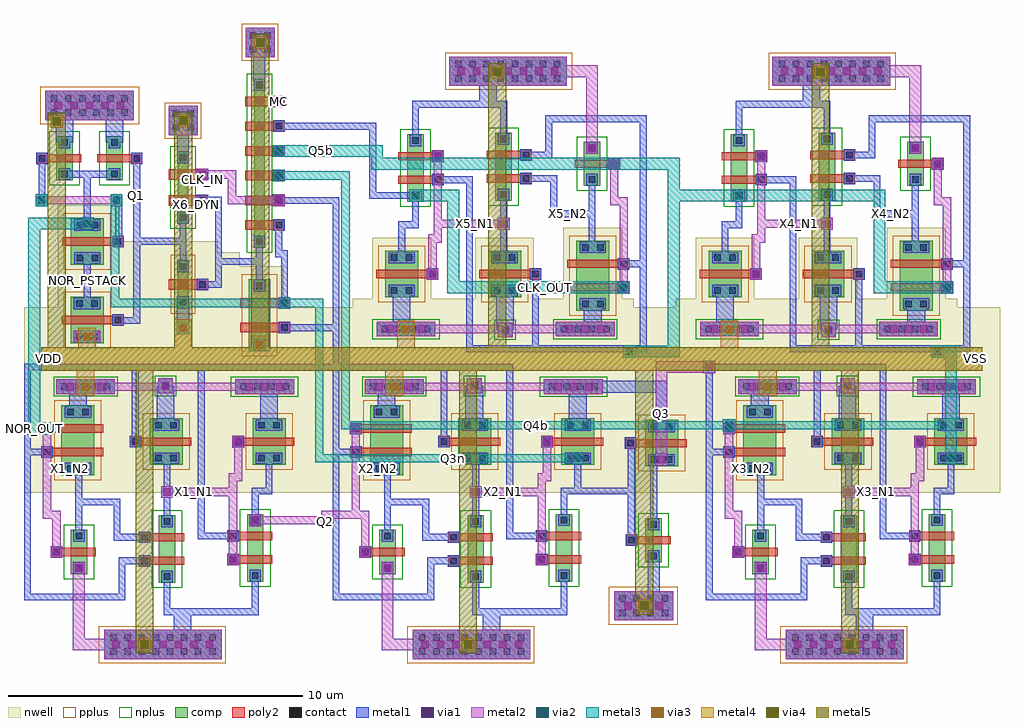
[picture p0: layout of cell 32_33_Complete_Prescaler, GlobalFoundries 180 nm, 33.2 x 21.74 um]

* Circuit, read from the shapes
.subckt 32_33_Complete_Prescaler CLK_IN CLK_OUT MC NOR_OUT NOR_PSTACK Q1 Q2 Q3 Q3n Q4b Q5b VDD VSS X1_N1 X1_N2 X2_N1 X2_N2 X3_N1 X3_N2 X4_N1 X4_N2 X5_N1 X5_N2 X6_DYN
XM1 VSS Q3n NOR_OUT VSS nfet_03v3 w=0.56u l=0.28u
XM2 X1_N2 NOR_OUT VSS VSS nfet_03v3 w=0.56u l=0.28u
XM3 VSS Q1 NOR_OUT VSS nfet_03v3 w=0.56u l=0.28u
XM4 n1 CLK_IN VSS VSS nfet_03v3 w=0.56u l=0.28u
XM5 X1_N1 X1_N2 n1 VSS nfet_03v3 w=0.56u l=0.28u
XM6 n2 X6_DYN Q1 VSS nfet_03v3 w=0.36u l=0.36u
XM7 VSS CLK_IN n2 VSS nfet_03v3 w=0.36u l=0.36u
XM8 n3 X1_N1 VSS VSS nfet_03v3 w=0.56u l=0.28u
XM9 Q2 CLK_IN n3 VSS nfet_03v3 w=0.56u l=0.28u
XM10 n4 Q3n X6_DYN VSS nfet_03v3 w=0.36u l=0.32u
XM11 n5 CLK_IN n4 VSS nfet_03v3 w=0.36u l=0.32u
XM12 n6 Q4b n5 VSS nfet_03v3 w=0.36u l=0.32u
XM13 n7 Q5b n6 VSS nfet_03v3 w=0.36u l=0.32u
XM14 n8 CLK_OUT n7 VSS nfet_03v3 w=0.36u l=0.32u
XM15 VSS MC n8 VSS nfet_03v3 w=0.36u l=0.32u
XM16 X2_N2 Q2 VSS VSS nfet_03v3 w=0.56u l=0.28u
XM17 n9 Q5b CLK_OUT VSS nfet_03v3 w=0.56u l=0.28u
XM18 VSS X5_N1 n9 VSS nfet_03v3 w=0.56u l=0.28u
XM19 n10 CLK_IN VSS VSS nfet_03v3 w=0.56u l=0.28u
XM20 X2_N1 X2_N2 n10 VSS nfet_03v3 w=0.56u l=0.28u
XM21 n11 X5_N2 X5_N1 VSS nfet_03v3 w=0.56u l=0.28u
XM22 VSS Q5b n11 VSS nfet_03v3 w=0.56u l=0.28u
XM23 n12 X2_N1 VSS VSS nfet_03v3 w=0.56u l=0.28u
XM24 Q3n CLK_IN n12 VSS nfet_03v3 w=0.56u l=0.28u
XM25 VSS CLK_OUT X5_N2 VSS nfet_03v3 w=0.56u l=0.28u
XM26 Q3 Q3n VSS VSS nfet_03v3 w=0.56u l=0.28u
XM27 n13 Q4b Q5b VSS nfet_03v3 w=0.56u l=0.28u
XM28 VSS X4_N1 n13 VSS nfet_03v3 w=0.56u l=0.28u
XM29 X3_N2 Q4b VSS VSS nfet_03v3 w=0.56u l=0.28u
XM30 n14 X4_N2 X4_N1 VSS nfet_03v3 w=0.56u l=0.28u
XM31 VSS Q4b n14 VSS nfet_03v3 w=0.56u l=0.28u
XM32 n15 Q3 VSS VSS nfet_03v3 w=0.56u l=0.28u
XM33 X3_N1 X3_N2 n15 VSS nfet_03v3 w=0.56u l=0.28u
XM34 VSS Q5b X4_N2 VSS nfet_03v3 w=0.56u l=0.28u
XM35 n16 X3_N1 VSS VSS nfet_03v3 w=0.56u l=0.28u
XM36 Q4b Q3 n16 VSS nfet_03v3 w=0.56u l=0.28u
XM37 n17 CLK_IN X1_N2 VDD pfet_03v3 w=1.12u l=0.28u
XM38 VDD NOR_OUT n17 VDD pfet_03v3 w=1.12u l=0.28u
XM39 NOR_PSTACK Q1 VDD VDD pfet_03v3 w=1.12u l=0.28u
XM40 NOR_OUT Q3n NOR_PSTACK VDD pfet_03v3 w=1.12u l=0.28u
XM41 VDD CLK_IN X1_N1 VDD pfet_03v3 w=1.12u l=0.28u
XM42 Q1 X6_DYN VDD VDD pfet_03v3 w=0.36u l=0.36u
XM43 n18 CLK_IN VDD VDD pfet_03v3 w=0.72u l=0.32u
XM44 X6_DYN Q3n n18 VDD pfet_03v3 w=0.72u l=0.32u
XM45 VDD X1_N1 Q2 VDD pfet_03v3 w=1.12u l=0.28u
XM46 n19 CLK_IN X2_N2 VDD pfet_03v3 w=1.12u l=0.28u
XM47 VDD Q2 n19 VDD pfet_03v3 w=1.12u l=0.28u
XM48 CLK_OUT X5_N1 VDD VDD pfet_03v3 w=1.12u l=0.28u
XM49 VDD CLK_IN X2_N1 VDD pfet_03v3 w=1.12u l=0.28u
XM50 X5_N1 Q5b VDD VDD pfet_03v3 w=1.12u l=0.28u
XM51 VDD X2_N1 Q3n VDD pfet_03v3 w=1.12u l=0.28u
XM52 n20 CLK_OUT VDD VDD pfet_03v3 w=1.12u l=0.28u
XM53 X5_N2 Q5b n20 VDD pfet_03v3 w=1.12u l=0.28u
XM54 VDD Q3n Q3 VDD pfet_03v3 w=1.12u l=0.28u
XM55 Q5b X4_N1 VDD VDD pfet_03v3 w=1.12u l=0.28u
XM56 n21 Q3 X3_N2 VDD pfet_03v3 w=1.12u l=0.28u
XM57 VDD Q4b n21 VDD pfet_03v3 w=1.12u l=0.28u
XM58 X4_N1 Q4b VDD VDD pfet_03v3 w=1.12u l=0.28u
XM59 VDD Q3 X3_N1 VDD pfet_03v3 w=1.12u l=0.28u
XM60 n22 Q5b VDD VDD pfet_03v3 w=1.12u l=0.28u
XM61 X4_N2 Q4b n22 VDD pfet_03v3 w=1.12u l=0.28u
XM62 VDD X3_N1 Q4b VDD pfet_03v3 w=1.12u l=0.28u
.ends

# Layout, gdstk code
from math import pi, radians
import gdstk
lib = gdstk.Library(unit=1e-6, precision=1e-09)
def R(c, l, rs):  # rectangles x0, y0, x1, y1
    for r in rs: c.add(gdstk.rectangle(r[:2], r[2:], *l))
def A(c, l, x, y, w, h, nx, ny, dx, dy):  # array of equal rectangles
    R(c, l, [(x+i*dx, y+j*dy, x+i*dx+w, y+j*dy+h) for i in range(nx) for j in range(ny)])
def P(c, l, *ps):  # polygons
    for p in ps: c.add(gdstk.Polygon(p, *l))
nwell = (21, 0)
comp = (22, 0)
poly2 = (30, 0)
pplus = (31, 0)
nplus = (32, 0)
contact = (33, 0)
metal1 = (34, 0)
via1 = (35, 0)
metal2 = (36, 0)
via2 = (38, 0)
via3 = (40, 0)
via4 = (41, 0)
metal3 = (42, 0)
metal4 = (46, 0)
metal5 = (81, 0)

via_dev_11 = lib.new_cell('via_dev$11')
R(via_dev_11, metal1, [(0,0,0.4,0.4)])
R(via_dev_11, via1, [(0.07,0.07,0.33,0.33)])
R(via_dev_11, metal2, [(0,0,0.4,0.4)])
R(via_dev_11, via2, [(0.07,0.07,0.33,0.33)])
R(via_dev_11, metal3, [(0,0,0.4,0.4)])

via_dev_14 = lib.new_cell('via_dev$14')
R(via_dev_14, comp, [(0,0,1,1)])
R(via_dev_14, contact, [(0.15,0.15,0.37,0.37), (0.63,0.15,0.85,0.37), (0.15,0.63,0.37,0.85), (0.63,0.63,0.85,0.85)])
R(via_dev_14, metal1, [(0,0,1,1)])
R(via_dev_14, via1, [(0.37,0.37,0.63,0.63)])
R(via_dev_14, metal2, [(0,0,1,1)])

via_dev_12 = lib.new_cell('via_dev$12')
R(via_dev_12, comp, [(0,0,2,1)])
A(via_dev_12, contact, 0.17, 0.15, 0.22, 0.22, 4, 2, 0.48, 0.48)
R(via_dev_12, metal1, [(0,0,2,1)])
A(via_dev_12, via1, 0.34, 0.37, 0.26, 0.26, 3, 1, 0.53, 0)
R(via_dev_12, metal2, [(0,0,2,1)])

pfet_4 = lib.new_cell('pfet$4')
R(pfet_4, nwell, [(-0.9,-0.44,2.36,1.56)])
R(pfet_4, comp, [(-0.46,0,0,1.12), (0,0,1.46,1.12), (1.46,0,1.92,1.12)])
R(pfet_4, poly2, [(0.19,-0.3,0.47,1.42), (0.99,-0.3,1.27,1.42), (0.14,1.42,0.52,1.8), (0.94,1.42,1.32,1.8)])
R(pfet_4, pplus, [(-0.63,-0.24,2.09,1.36)])
R(pfet_4, contact, [(-0.34,0.195,-0.12,0.415), (1.58,0.195,1.8,0.415), (-0.34,0.705,-0.12,0.925), (1.58,0.705,1.8,0.925), (0.22,1.5,0.44,1.72), (1.02,1.5,1.24,1.72)])
R(pfet_4, metal1, [(-0.42,0.115,-0.04,1.005), (1.5,0.115,1.88,1.005), (0.135,1.415,0.525,1.805), (0.935,1.415,1.325,1.805), (0.14,1.419,0.52,1.801), (0.94,1.419,1.32,1.801)])

nfet_3 = lib.new_cell('nfet$3')
R(nfet_3, comp, [(-0.42,0,0,0.56), (0,0,1.46,0.56), (1.46,0,1.88,0.56)])
R(nfet_3, poly2, [(0.19,-0.3,0.47,0.86), (0.99,-0.3,1.27,0.86), (0.15,0.86,0.51,1.22), (0.95,0.86,1.31,1.22)])
R(nfet_3, nplus, [(-0.59,-0.24,2.05,0.8)])
R(nfet_3, contact, [(-0.32,0.17,-0.1,0.39), (1.56,0.17,1.78,0.39), (0.22,0.93,0.44,1.15), (1.02,0.93,1.24,1.15)])
R(nfet_3, metal1, [(-0.405,0.085,-0.015,0.475), (1.475,0.085,1.865,0.475), (-0.4,0.089,-0.02,0.471), (1.48,0.089,1.86,0.471), (0.135,0.845,0.525,1.235), (0.935,0.845,1.325,1.235), (0.14,0.849,0.52,1.231), (0.94,0.849,1.32,1.231)])

nfet_2 = lib.new_cell('nfet$2')
R(nfet_2, comp, [(-0.42,0,0,0.56), (0,0,0.66,0.56), (0.66,0,1.08,0.56)])
R(nfet_2, poly2, [(0.19,-0.3,0.47,0.86), (0.15,0.86,0.51,1.22)])
R(nfet_2, nplus, [(-0.59,-0.24,1.25,0.8)])
R(nfet_2, contact, [(-0.32,0.17,-0.1,0.39), (0.76,0.17,0.98,0.39), (0.22,0.93,0.44,1.15)])
R(nfet_2, metal1, [(-0.405,0.085,-0.015,0.475), (0.675,0.085,1.065,0.475), (-0.4,0.089,-0.02,0.471), (0.68,0.089,1.06,0.471), (0.135,0.845,0.525,1.235), (0.14,0.849,0.52,1.231)])

via_dev_4 = lib.new_cell('via_dev$4')
R(via_dev_4, comp, [(0,0,2,0.5)])
A(via_dev_4, contact, 0.17, 0.14, 0.22, 0.22, 4, 1, 0.48, 0)
R(via_dev_4, metal1, [(0,0,2,0.5)])
A(via_dev_4, via1, 0.34, 0.12, 0.26, 0.26, 3, 1, 0.53, 0)
R(via_dev_4, metal2, [(0,0,2,0.5)])

via_dev_6 = lib.new_cell('via_dev$6')
R(via_dev_6, comp, [(0,0,0.5,0.5)])
R(via_dev_6, contact, [(0.14,0.14,0.36,0.36)])
R(via_dev_6, metal1, [(0,0,0.5,0.5)])
R(via_dev_6, via1, [(0.12,0.12,0.38,0.38)])
R(via_dev_6, metal2, [(0,0,0.5,0.5)])

via_dev_8 = lib.new_cell('via_dev$8')
R(via_dev_8, comp, [(0,0,4,1)])
A(via_dev_8, contact, 0.21, 0.15, 0.22, 0.22, 8, 2, 0.48, 0.48)
R(via_dev_8, metal1, [(0,0,4,1)])
A(via_dev_8, via1, 0.28, 0.37, 0.26, 0.26, 7, 1, 0.53, 0)
R(via_dev_8, metal2, [(0,0,4,1)])

pfet_5 = lib.new_cell('pfet$5')
R(pfet_5, nwell, [(-0.9,-0.44,1.56,1.56)])
R(pfet_5, comp, [(-0.46,0,0,1.12), (0,0,0.66,1.12), (0.66,0,1.12,1.12)])
R(pfet_5, poly2, [(0.19,-0.3,0.47,1.42), (0.14,1.42,0.52,1.8)])
R(pfet_5, pplus, [(-0.63,-0.24,1.29,1.36)])
R(pfet_5, contact, [(-0.34,0.195,-0.12,0.415), (0.78,0.195,1,0.415), (-0.34,0.705,-0.12,0.925), (0.78,0.705,1,0.925), (0.22,1.5,0.44,1.72)])
R(pfet_5, metal1, [(-0.42,0.115,-0.04,1.005), (0.7,0.115,1.08,1.005), (0.135,1.415,0.525,1.805), (0.14,1.419,0.52,1.801)])

via_dev = lib.new_cell('via_dev')
R(via_dev, metal1, [(0,0,0.4,0.4)])
R(via_dev, via1, [(0.07,0.07,0.33,0.33)])
R(via_dev, metal2, [(0,0,0.4,0.4)])

flip_flip_w_inv2 = lib.new_cell('Flip_Flip_W_Inv2')
R(flip_flip_w_inv2, nwell, [(-2.71,2.91,6.86,4.8), (6.86,2.91,9.04,4.8)])
R(flip_flip_w_inv2, pplus, [(-0.61,-5.45,3.71,-4.19), (6.25,-4.15,8.59,-2.86)])
R(flip_flip_w_inv2, nplus, [(3.89,3.61,6.19,4.29), (-2.14,3.62,0.04,4.29), (1.31,3.63,2.04,4.32)])
R(flip_flip_w_inv2, via1, [(-1.41,-2.34,-1.15,-2.08), (3.83,-2.06,4.09,-1.8), (-2.17,-1.8,-1.91,-1.54), (4.01,1.95,4.27,2.21), (-2.49,2.4,-2.23,2.66)])
R(flip_flip_w_inv2, metal2, [(-1.48,-2.41,-1.08,-2.01), (3.76,-2.13,4.16,-1.73), (-2.24,-1.87,-1.84,-1.47), (3.94,1.88,4.34,2.28), (-2.56,2.33,-2.16,2.73)])
flip_flip_w_inv2.add(gdstk.FlexPath([(-2.36,1.73),(-3.03,1.73),(-3.03,4.62),(-3.03,4.62)], 0.23, ends="flush", simple_path=True, layer=34, datatype=0))  # metal1
flip_flip_w_inv2.add(gdstk.FlexPath([(0.96,-1.97),(0.19,-1.97),(0.19,-3.2),(-3.03,-3.2),(-3.03,1.73)], 0.23, ends="flush", simple_path=True, layer=34, datatype=0))  # metal1
flip_flip_w_inv2.add(gdstk.FlexPath([(0.64,2.08),(0.64,4.62),(-3.145,4.62)], 0.23, ends="flush", simple_path=True, layer=34, datatype=0))  # metal1
flip_flip_w_inv2.add(gdstk.FlexPath([(7.01,-1.27),(7.01,2.03)], 0.23, ends="flush", simple_path=True, layer=34, datatype=0))  # metal1
flip_flip_w_inv2.add(gdstk.FlexPath([(7.77,-0.73),(7.77,1.47)], 0.23, ends="flush", simple_path=True, layer=34, datatype=0))  # metal1
flip_flip_w_inv2.add(gdstk.FlexPath([(7.77,-1.81),(7.77,-3.5)], 0.4, ends="flush", simple_path=True, layer=34, datatype=0))  # metal1
flip_flip_w_inv2.add(gdstk.FlexPath([(5.19,0.4),(7.01,0.4)], 0.23, ends="flush", simple_path=True, layer=34, datatype=0))  # metal1
flip_flip_w_inv2.add(gdstk.FlexPath([(8.04,2.59),(8.04,3.95),(5.39,3.95)], 0.4, ends="flush", simple_path=True, layer=34, datatype=0))  # metal1
flip_flip_w_inv2.add(gdstk.FlexPath([(0.64,4.62),(2.88,4.62),(2.88,-1.13),(3.96,-1.13)], 0.23, ends="flush", simple_path=True, layer=34, datatype=0))  # metal1
flip_flip_w_inv2.add(gdstk.FlexPath([(4.72,-0.59),(4.72,0.4),(5.19,0.4),(5.19,1.52)], 0.23, ends="flush", simple_path=True, layer=34, datatype=0))  # metal1
flip_flip_w_inv2.add(gdstk.FlexPath([(1.72,-0.63),(1.72,1.52)], 0.23, ends="flush", simple_path=True, layer=34, datatype=0))  # metal1
flip_flip_w_inv2.add(gdstk.FlexPath([(-1.28,-1.13),(-1.28,1.17)], 0.23, ends="flush", simple_path=True, layer=34, datatype=0))  # metal1
flip_flip_w_inv2.add(gdstk.FlexPath([(-1.28,0.03),(0.02,0.03),(0.02,-1.17),(0.96,-1.17)], 0.23, ends="flush", simple_path=True, layer=34, datatype=0))  # metal1
flip_flip_w_inv2.add(gdstk.FlexPath([(4.72,-2.47),(4.72,-3.7),(1.72,-3.7),(1.72,-2.51)], 0.23, ends="flush", simple_path=True, layer=34, datatype=0))  # metal1
flip_flip_w_inv2.add(gdstk.FlexPath([(-1.31,3.09),(-1.31,3.96)], 0.6, ends="flush", simple_path=True, layer=34, datatype=0))  # metal1
flip_flip_w_inv2.add(gdstk.FlexPath([(1.67,3.98),(1.67,2.58)], 0.6, ends="flush", simple_path=True, layer=34, datatype=0))  # metal1
flip_flip_w_inv2.add(gdstk.FlexPath([(5.19,2.64),(5.19,4.07)], 0.6, ends="flush", simple_path=True, layer=34, datatype=0))  # metal1
flip_flip_w_inv2.add(gdstk.FlexPath([(2.25,-3.7),(2.25,-4.82)], 0.6, ends="flush", simple_path=True, layer=34, datatype=0))  # metal1
flip_flip_w_inv2.add(gdstk.FlexPath([(-2.36,2.53),(-2.36,-0.4),(-2.04,-0.4),(-2.04,-1.67)], 0.28, ends="flush", simple_path=True, layer=36, datatype=0))  # metal2
flip_flip_w_inv2.add(gdstk.FlexPath([(-1.28,-2.21),(-1.28,-4.82),(0.52,-4.82)], 0.4, ends="flush", simple_path=True, layer=36, datatype=0))  # metal2
flip_flip_w_inv2.add(gdstk.FlexPath([(3.96,-1.93),(3.96,0.87),(4.14,0.87),(4.14,2.08)], 0.28, ends="flush", simple_path=True, layer=36, datatype=0))  # metal2
flip_flip_w_inv2.add(gdstk.FlexPath([(1.72,0.37),(3.96,0.37)], 0.28, ends="flush", simple_path=True, layer=36, datatype=0))  # metal2
flip_flip_w_inv2.add(gdstk.FlexPath([(-1.05,3.95),(5.09,3.95)], 0.28, ends="flush", simple_path=True, layer=36, datatype=0))  # metal2
flip_flip_w_inv2.add(gdstk.Reference(via_dev_12, (6.43,-4)))
flip_flip_w_inv2.add(gdstk.Reference(pfet_4, (-0.75,1.4), rotation=pi/2))
flip_flip_w_inv2.add(gdstk.Reference(nfet_3, (2,-2.3), rotation=pi/2))
flip_flip_w_inv2.add(gdstk.Reference(nfet_3, (5,-2.26), rotation=pi/2))
flip_flip_w_inv2.add(gdstk.Reference(nfet_2, (-1,-2), rotation=pi/2))
flip_flip_w_inv2.add(gdstk.Reference(nfet_2, (8.05,-1.6), rotation=pi/2))
flip_flip_w_inv2.add(gdstk.Reference(via_dev_4, (-2.05,3.7)))
flip_flip_w_inv2.add(gdstk.Reference(via_dev_4, (4.04,3.7)))
flip_flip_w_inv2.add(gdstk.Reference(via_dev_6, (1.42,3.73)))
flip_flip_w_inv2.add(gdstk.Reference(via_dev_8, (-0.42,-5.32)))
flip_flip_w_inv2.add(gdstk.Reference(pfet_5, (2.25,1.75), rotation=pi/2))
flip_flip_w_inv2.add(gdstk.Reference(pfet_5, (5.75,1.75), rotation=pi/2))
flip_flip_w_inv2.add(gdstk.Reference(pfet_5, (8.6,1.7), rotation=pi/2))
flip_flip_w_inv2.add(gdstk.Reference(via_dev, (1.92,0.17), rotation=pi/2))

pfet = lib.new_cell('pfet')
R(pfet, nwell, [(-0.9,-0.44,2.44,1.16)])
R(pfet, comp, [(-0.46,0,0,0.72), (0,0,1.54,0.72), (1.54,0,2,0.72)])
R(pfet, poly2, [(0.19,-0.3,0.51,1.02), (1.03,-0.3,1.35,1.02), (0.16,1.02,0.54,1.4), (1,1.02,1.38,1.4)])
R(pfet, pplus, [(-0.63,-0.24,2.17,0.96)])
R(pfet, contact, [(-0.34,0.25,-0.12,0.47), (1.66,0.25,1.88,0.47), (0.24,1.1,0.46,1.32), (1.08,1.1,1.3,1.32)])
R(pfet, metal1, [(-0.425,0.165,-0.035,0.555), (1.575,0.165,1.965,0.555), (-0.42,0.169,-0.04,0.551), (1.58,0.169,1.96,0.551), (0.155,1.015,0.545,1.405), (0.995,1.015,1.385,1.405), (0.16,1.019,0.54,1.401), (1,1.019,1.38,1.401)])

nfet_5 = lib.new_cell('nfet$5')
R(nfet_5, comp, [(-0.42,-0.01,0,0.37), (4.9,-0.01,5.32,0.37), (0,0,4.9,0.36)])
A(nfet_5, poly2, 0.19, -0.3, 0.32, 0.96, 6, 1, 0.84, 0)
A(nfet_5, poly2, 0.17, 0.66, 0.36, 0.36, 6, 1, 0.84, 0)
R(nfet_5, nplus, [(-0.59,-0.25,5.49,0.61)])
A(nfet_5, contact, 0.24, 0.73, 0.22, 0.22, 6, 1, 0.84, 0)
R(nfet_5, contact, [(-0.32,0.07,-0.1,0.29), (5,0.07,5.22,0.29)])
A(nfet_5, metal1, 0.155, 0.645, 0.39, 0.39, 6, 1, 0.84, 0)
A(nfet_5, metal1, 0.16, 0.649, 0.38, 0.382, 6, 1, 0.84, 0)
R(nfet_5, metal1, [(-0.405,-0.015,-0.015,0.375), (4.915,-0.015,5.305,0.375), (-0.4,-0.011,-0.02,0.371), (4.92,-0.011,5.3,0.371)])

ff1_first_stage = lib.new_cell('FF1_First_Stage')
R(ff1_first_stage, via1, [(-0.97,-0.27,-0.71,-0.01)])
R(ff1_first_stage, metal2, [(-1.04,-0.34,-0.64,0.06)])
ff1_first_stage.add(gdstk.FlexPath([(-1.025,4.19),(-2.79,4.19),(-2.79,-0.13),(-0.84,-0.13)], 0.23, ends="flush", simple_path=True, layer=34, datatype=0))  # metal1
ff1_first_stage.add(gdstk.FlexPath([(-0.84,0.71),(-0.84,1.68),(-1.035,1.68),(-1.035,3.35),(-1.035,3.35)], 0.23, ends="flush", simple_path=True, layer=34, datatype=0))  # metal1
ff1_first_stage.add(gdstk.FlexPath([(-0.18,1.94),(1.21,1.94),(1.21,2.72),(1.79,2.72)], 0.23, ends="flush", simple_path=True, layer=34, datatype=0))  # metal1
ff1_first_stage.add(gdstk.FlexPath([(-0.18,1.27),(-0.18,2.77)], 0.23, ends="flush", simple_path=True, layer=34, datatype=0))  # metal1
ff1_first_stage.add(gdstk.FlexPath([(1.21,1.94),(1.21,-0.14),(1.87,-0.14)], 0.23, ends="flush", simple_path=True, layer=34, datatype=0))  # metal1
ff1_first_stage.add(gdstk.Reference(pfet, (0.175,3), rotation=pi/2))
ff1_first_stage.add(gdstk.Reference(nfet_5, (0,-3.85), rotation=pi/2))

nfet = lib.new_cell('nfet')
R(nfet, comp, [(-0.42,-0.01,0,0.37), (1.62,-0.01,2.04,0.37), (0,0,1.62,0.36)])
R(nfet, poly2, [(0.19,-0.3,0.55,0.66), (1.07,-0.3,1.43,0.66), (0.19,0.66,0.55,1.02), (1.07,0.66,1.43,1.02)])
R(nfet, nplus, [(-0.59,-0.25,2.21,0.61)])
R(nfet, contact, [(-0.32,0.07,-0.1,0.29), (1.72,0.07,1.94,0.29), (0.26,0.73,0.48,0.95), (1.14,0.73,1.36,0.95)])
R(nfet, metal1, [(-0.405,-0.015,-0.015,0.375), (1.635,-0.015,2.025,0.375), (-0.4,-0.011,-0.02,0.371), (1.64,-0.011,2.02,0.371), (0.175,0.645,0.565,1.035), (1.055,0.645,1.445,1.035), (0.18,0.649,0.56,1.031), (1.06,0.649,1.44,1.031)])

pfet_1 = lib.new_cell('pfet$1')

pfet_2 = lib.new_cell('pfet$2')
R(pfet_2, nwell, [(-0.9,-0.45,1.64,0.81)])
R(pfet_2, comp, [(-0.46,-0.01,0,0.37), (0.74,-0.01,1.2,0.37), (0,0,0.74,0.36)])
R(pfet_2, poly2, [(0.19,-0.3,0.55,0.66), (0.18,0.66,0.56,1.04)])
R(pfet_2, pplus, [(-0.63,-0.24,1.37,0.6)])
R(pfet_2, contact, [(-0.34,0.07,-0.12,0.29), (0.86,0.07,1.08,0.29), (0.26,0.74,0.48,0.96)])
R(pfet_2, metal1, [(-0.425,-0.015,-0.035,0.375), (0.775,-0.015,1.165,0.375), (-0.42,-0.011,-0.04,0.371), (0.78,-0.011,1.16,0.371), (0.175,0.655,0.565,1.045), (0.18,0.659,0.56,1.041)])

ff1_second_stage = lib.new_cell('FF1_Second_Stage')
ff1_second_stage.add(gdstk.FlexPath([(2.42,0.44),(2.42,2.31)], 0.23, ends="flush", simple_path=True, layer=34, datatype=0))  # metal1
ff1_second_stage.add(gdstk.Reference(nfet, (2.6,-1.39), rotation=pi/2))
ff1_second_stage.add(gdstk.Reference(pfet_1, (2.05,1.72)))
ff1_second_stage.add(gdstk.Reference(pfet_2, (2.6,2.35), rotation=pi/2))

c_32_33_prescaler = lib.new_cell('32_33_Prescaler')
R(c_32_33_prescaler, via1, [(1.63,-1.15,1.89,-0.89), (-0.31,4.64,-0.05,4.9)])
R(c_32_33_prescaler, metal2, [(1.56,-1.22,1.96,-0.82), (-0.38,4.575,0.01,4.965)])
c_32_33_prescaler.add(gdstk.FlexPath([(-0.84,-0.14),(0.75,-0.14),(0.75,-1.02),(1.76,-1.02)], 0.28, ends="flush", simple_path=True, layer=36, datatype=0))  # metal2
c_32_33_prescaler.add(gdstk.Reference(ff1_first_stage, (0,0)))
c_32_33_prescaler.add(gdstk.Reference(ff1_second_stage, (0,0)))

flip_flip_wo_inv = lib.new_cell('Flip_Flip_WO_Inv')
R(flip_flip_wo_inv, nwell, [(-2.71,2.91,6.86,4.8)])
R(flip_flip_wo_inv, pplus, [(-0.61,-5.45,3.71,-4.19)])
R(flip_flip_wo_inv, nplus, [(3.89,3.61,6.19,4.29), (-2.14,3.62,0.04,4.29), (1.31,3.63,2.04,4.32)])
R(flip_flip_wo_inv, via1, [(-1.41,-2.34,-1.15,-2.08), (3.83,-2.06,4.09,-1.8), (-2.17,-1.8,-1.91,-1.54), (4.01,1.95,4.27,2.21), (-2.49,2.4,-2.23,2.66)])
R(flip_flip_wo_inv, metal2, [(-1.48,-2.41,-1.08,-2.01), (3.76,-2.13,4.16,-1.73), (-2.24,-1.87,-1.84,-1.47), (3.94,1.88,4.34,2.28), (-2.56,2.33,-2.16,2.73)])
flip_flip_wo_inv.add(gdstk.FlexPath([(-2.36,1.73),(-3.03,1.73),(-3.03,4.62),(-3.03,4.62)], 0.23, ends="flush", simple_path=True, layer=34, datatype=0))  # metal1
flip_flip_wo_inv.add(gdstk.FlexPath([(0.96,-1.97),(0.19,-1.97),(0.19,-3.2),(-3.03,-3.2),(-3.03,1.73)], 0.23, ends="flush", simple_path=True, layer=34, datatype=0))  # metal1
flip_flip_wo_inv.add(gdstk.FlexPath([(0.64,2.08),(0.64,4.62),(-3.145,4.62)], 0.23, ends="flush", simple_path=True, layer=34, datatype=0))  # metal1
flip_flip_wo_inv.add(gdstk.FlexPath([(0.64,4.62),(2.88,4.62),(2.88,-1.13),(3.96,-1.13)], 0.23, ends="flush", simple_path=True, layer=34, datatype=0))  # metal1
flip_flip_wo_inv.add(gdstk.FlexPath([(4.72,-0.59),(4.72,0.4),(5.19,0.4),(5.19,1.52)], 0.23, ends="flush", simple_path=True, layer=34, datatype=0))  # metal1
flip_flip_wo_inv.add(gdstk.FlexPath([(1.72,-0.63),(1.72,1.52)], 0.23, ends="flush", simple_path=True, layer=34, datatype=0))  # metal1
flip_flip_wo_inv.add(gdstk.FlexPath([(-1.28,-1.13),(-1.28,1.17)], 0.23, ends="flush", simple_path=True, layer=34, datatype=0))  # metal1
flip_flip_wo_inv.add(gdstk.FlexPath([(-1.28,0.03),(0.02,0.03),(0.02,-1.17),(0.96,-1.17)], 0.23, ends="flush", simple_path=True, layer=34, datatype=0))  # metal1
flip_flip_wo_inv.add(gdstk.FlexPath([(4.72,-2.47),(4.72,-3.7),(1.72,-3.7),(1.72,-2.51)], 0.23, ends="flush", simple_path=True, layer=34, datatype=0))  # metal1
flip_flip_wo_inv.add(gdstk.FlexPath([(-1.31,3.09),(-1.31,3.96)], 0.6, ends="flush", simple_path=True, layer=34, datatype=0))  # metal1
flip_flip_wo_inv.add(gdstk.FlexPath([(1.67,3.98),(1.67,2.58)], 0.6, ends="flush", simple_path=True, layer=34, datatype=0))  # metal1
flip_flip_wo_inv.add(gdstk.FlexPath([(5.19,2.64),(5.19,4.07)], 0.6, ends="flush", simple_path=True, layer=34, datatype=0))  # metal1
flip_flip_wo_inv.add(gdstk.FlexPath([(2.25,-3.7),(2.25,-4.82)], 0.6, ends="flush", simple_path=True, layer=34, datatype=0))  # metal1
flip_flip_wo_inv.add(gdstk.FlexPath([(-2.36,2.53),(-2.36,-0.4),(-2.04,-0.4),(-2.04,-1.67)], 0.28, ends="flush", simple_path=True, layer=36, datatype=0))  # metal2
flip_flip_wo_inv.add(gdstk.FlexPath([(-1.28,-2.21),(-1.28,-4.82),(0.52,-4.82)], 0.4, ends="flush", simple_path=True, layer=36, datatype=0))  # metal2
flip_flip_wo_inv.add(gdstk.FlexPath([(3.96,-1.93),(3.96,0.87),(4.14,0.87),(4.14,2.08)], 0.28, ends="flush", simple_path=True, layer=36, datatype=0))  # metal2
flip_flip_wo_inv.add(gdstk.FlexPath([(1.72,0.37),(3.96,0.37)], 0.28, ends="flush", simple_path=True, layer=36, datatype=0))  # metal2
flip_flip_wo_inv.add(gdstk.FlexPath([(-1.05,3.95),(5.09,3.95)], 0.28, ends="flush", simple_path=True, layer=36, datatype=0))  # metal2
flip_flip_wo_inv.add(gdstk.Reference(pfet_4, (-0.75,1.4), rotation=pi/2))
flip_flip_wo_inv.add(gdstk.Reference(nfet_3, (2,-2.3), rotation=pi/2))
flip_flip_wo_inv.add(gdstk.Reference(nfet_3, (5,-2.26), rotation=pi/2))
flip_flip_wo_inv.add(gdstk.Reference(nfet_2, (-1,-2), rotation=pi/2))
flip_flip_wo_inv.add(gdstk.Reference(via_dev_4, (-2.05,3.7)))
flip_flip_wo_inv.add(gdstk.Reference(via_dev_4, (4.04,3.7)))
flip_flip_wo_inv.add(gdstk.Reference(via_dev_6, (1.42,3.73)))
flip_flip_wo_inv.add(gdstk.Reference(via_dev_8, (-0.42,-5.32)))
flip_flip_wo_inv.add(gdstk.Reference(pfet_5, (2.25,1.75), rotation=pi/2))
flip_flip_wo_inv.add(gdstk.Reference(pfet_5, (5.75,1.75), rotation=pi/2))
flip_flip_wo_inv.add(gdstk.Reference(via_dev, (1.92,0.17), rotation=pi/2))

nfet_4 = lib.new_cell('nfet$4')
R(nfet_4, comp, [(-0.42,0,0,0.56), (0,0,0.66,0.56), (0.66,0,1.08,0.56)])
R(nfet_4, poly2, [(0.15,-0.66,0.51,-0.3), (0.19,-0.3,0.47,0.86)])
R(nfet_4, nplus, [(-0.59,-0.24,1.25,0.8)])
R(nfet_4, contact, [(0.22,-0.59,0.44,-0.37), (-0.32,0.17,-0.1,0.39), (0.76,0.17,0.98,0.39)])
R(nfet_4, metal1, [(0.135,-0.675,0.525,-0.285), (0.14,-0.671,0.52,-0.289), (-0.405,0.085,-0.015,0.475), (0.675,0.085,1.065,0.475), (-0.4,0.089,-0.02,0.471), (0.68,0.089,1.06,0.471)])

via_dev_13 = lib.new_cell('via_dev$13')
R(via_dev_13, comp, [(0,0,3,1)])
A(via_dev_13, contact, 0.19, 0.15, 0.22, 0.22, 6, 2, 0.48, 0.48)
R(via_dev_13, metal1, [(0,0,3,1)])
A(via_dev_13, via1, 0.31, 0.37, 0.26, 0.26, 5, 1, 0.53, 0)
R(via_dev_13, metal2, [(0,0,3,1)])

c_2_input_nor = lib.new_cell('2_Input_NOR')
R(c_2_input_nor, nwell, [(-2.05,1.99,-0.06,3.19)])
R(c_2_input_nor, pplus, [(-2.82,-4.01,0.54,-2.73)])
R(c_2_input_nor, via1, [(-1.18,4.37,-0.92,4.63)])
R(c_2_input_nor, metal2, [(-1.495,4.3,-0.605,4.68)])
c_2_input_nor.add(gdstk.FlexPath([(-1.98,-1.03),(-0.28,-1.03)], 0.23, ends="flush", simple_path=True, layer=34, datatype=0))  # metal1
c_2_input_nor.add(gdstk.FlexPath([(-1.06,-1.13),(-1.06,0.7)], 0.23, ends="flush", simple_path=True, layer=34, datatype=0))  # metal1
c_2_input_nor.add(gdstk.FlexPath([(-2.74,-1.57),(-2.74,3.95),(-2.1,3.95)], 0.23, ends="flush", simple_path=True, layer=34, datatype=0))  # metal1
c_2_input_nor.add(gdstk.FlexPath([(-2.13,1.26),(-2.13,-0.13)], 0.23, ends="flush", simple_path=True, layer=34, datatype=0))  # metal1
c_2_input_nor.add(gdstk.FlexPath([(0.48,-1.57),(0.48,-0.14)], 0.23, ends="flush", simple_path=True, layer=34, datatype=0))  # metal1
c_2_input_nor.add(gdstk.FlexPath([(-1.98,-2.11),(-1.98,-3.5)], 0.6, ends="flush", simple_path=True, layer=34, datatype=0))  # metal1
c_2_input_nor.add(gdstk.FlexPath([(-0.28,-2.11),(-0.28,-3.43)], 0.6, ends="flush", simple_path=True, layer=34, datatype=0))  # metal1
c_2_input_nor.add(gdstk.FlexPath([(-1.06,1.82),(-1.06,3.39)], 0.23, ends="flush", simple_path=True, layer=34, datatype=0))  # metal1
c_2_input_nor.add(gdstk.FlexPath([(0.5,-0.14),(-2.05,-0.14)], 0.28, ends="flush", simple_path=True, layer=36, datatype=0))  # metal2
c_2_input_nor.add(gdstk.Reference(nfet_2, (-1.7,-1.9), rotation=pi/2))
c_2_input_nor.add(gdstk.Reference(nfet_4, (0,-1.9), rotation=pi/2))
c_2_input_nor.add(gdstk.Reference(pfet_5, (-0.49,3.6), rotation=pi/2))
c_2_input_nor.add(gdstk.Reference(pfet_5, (-0.5,0.93), rotation=pi/2))
r = gdstk.Reference(via_dev_11, (-2.25,-0.34)); r.repetition = gdstk.Repetition(2, 1, v1=(2.55,0), v2=(0,0)); c_2_input_nor.add(r)
c_2_input_nor.add(gdstk.Reference(via_dev_13, (-2.63,-3.87)))

signal_and_well_repairs = lib.new_cell('Signal_and_Well_Repairs')
R(signal_and_well_repairs, nwell, [(13.905,4.2,47.1,10.5), (16.9,10.5,20.5,12.75), (20.5,10.5,22.6,11.9)])
R(signal_and_well_repairs, metal1, [(35.38,5.11,35.8,5.53), (37,8.26,37.42,8.68), (34.29,8.79,34.71,9.21), (44.76,8.79,45.18,9.21), (34.71,9.205,34.855,9.21), (15.85,13.14,16.27,13.56), (27.01,14.09,27.43,14.51)])
R(signal_and_well_repairs, via1, [(35.46,5.19,35.72,5.45), (37.08,8.34,37.34,8.6), (34.37,8.87,34.63,9.13), (44.84,8.87,45.1,9.13), (15.93,13.22,16.19,13.48), (27.09,14.17,27.35,14.43)])
R(signal_and_well_repairs, metal2, [(35.38,5.11,35.8,5.53), (14.48,6.17,14.9,6.59), (37.67,6.28,38.09,6.7), (37,8.26,37.42,8.68), (34.29,8.79,34.71,9.21), (44.76,8.79,45.18,9.21), (34.09,10.97,34.51,11.39), (45.09,10.97,45.51,11.39), (15.85,13.14,16.27,13.56), (27.01,14.09,27.43,14.51), (38.01,14.09,38.43,14.51)])
R(signal_and_well_repairs, via2, [(14.56,6.25,14.82,6.51), (37.75,6.36,38.01,6.62), (34.37,8.87,34.63,9.13), (44.84,8.87,45.1,9.13), (34.17,11.05,34.43,11.31), (45.17,11.05,45.43,11.31), (15.93,13.22,16.19,13.48), (27.09,14.17,27.35,14.43), (38.09,14.17,38.35,14.43)])
R(signal_and_well_repairs, metal3, [(14.05,6.17,14.9,6.59), (14.48,6.17,14.9,6.59), (37.67,6.28,38.09,6.7), (34.29,8.79,34.71,9.21), (44.76,8.79,45.18,9.21), (44.76,8.79,45.63,9.21), (34.09,10.97,34.51,11.39), (45.09,10.97,45.51,11.39), (15.85,13.14,16.27,13.56), (27.01,14.09,27.43,14.51), (38.01,14.09,38.43,14.51)])
signal_and_well_repairs.add(gdstk.FlexPath([(35.59,5.32),(35.59,8.47),(37.21,8.47)], 0.4, ends="flush", simple_path=True, layer=36, datatype=0))  # metal2
signal_and_well_repairs.add(gdstk.FlexPath([(45.43,5.365),(45.43,9),(44.97,9)], 0.4, ends="flush", simple_path=True, layer=42, datatype=0))  # metal3
signal_and_well_repairs.add(gdstk.FlexPath([(16.06,13.35),(14.25,13.35),(14.25,6.38),(14.69,6.38)], 0.4, ends="flush", simple_path=True, layer=42, datatype=0))  # metal3
signal_and_well_repairs.add(gdstk.FlexPath([(22.57,15.82),(25.91,15.82),(25.91,15.38),(36,15.38),(36,14.3),(38.22,14.3)], 0.4, ends="flush", simple_path=True, layer=42, datatype=0))  # metal3
signal_and_well_repairs.add(gdstk.FlexPath([(36,15.38),(36,9),(34.5,9)], 0.4, ends="flush", simple_path=True, layer=42, datatype=0))  # metal3
signal_and_well_repairs.add(gdstk.FlexPath([(38.22,14.3),(43,14.3),(43,11.18),(45.3,11.18)], 0.4, ends="flush", simple_path=True, layer=42, datatype=0))  # metal3
signal_and_well_repairs.add(gdstk.FlexPath([(27.22,14.3),(28.5,14.3),(28.5,11.18),(34.3,11.18)], 0.4, ends="flush", simple_path=True, layer=42, datatype=0))  # metal3

power_grid_repairs = lib.new_cell('Power_Grid_Repairs')
R(power_grid_repairs, metal1, [(19.1,9.59,19.52,10.875), (19.1,9.59,19.52,10.01)])
R(power_grid_repairs, via1, [(19.18,9.67,19.44,9.93)])
R(power_grid_repairs, metal2, [(17.79,-1.18,18.21,-0.76), (28.79,-1.18,29.21,-0.76), (41.79,-1.18,42.21,-0.76), (34.79,0.14,35.21,0.56), (15.79,7.59,16.21,8.01), (26.29,7.59,26.71,8.01), (38.99,7.59,39.41,8.01), (21.705,9.02,22.125,9.44), (15.84,9.3,16.26,9.72), (26.69,9.54,27.11,9.96), (37.69,9.54,38.11,9.96), (19.1,9.59,19.52,10.01), (19.11,16.64,19.53,17.06), (29.79,18.29,30.21,18.71), (40.79,18.29,41.21,18.71), (21.73,19.3,22.15,19.72)])
R(power_grid_repairs, via2, [(17.87,-1.1,18.13,-0.84), (28.87,-1.1,29.13,-0.84), (41.87,-1.1,42.13,-0.84), (34.87,0.22,35.13,0.48), (15.87,7.67,16.13,7.93), (26.37,7.67,26.63,7.93), (39.07,7.67,39.33,7.93), (21.785,9.1,22.045,9.36), (15.92,9.38,16.18,9.64), (26.77,9.62,27.03,9.88), (37.77,9.62,38.03,9.88), (19.18,9.67,19.44,9.93), (19.19,16.72,19.45,16.98), (29.87,18.37,30.13,18.63), (40.87,18.37,41.13,18.63), (21.81,19.38,22.07,19.64)])
R(power_grid_repairs, via3, [(17.87,-1.1,18.13,-0.84), (28.87,-1.1,29.13,-0.84), (41.87,-1.1,42.13,-0.84), (34.87,0.22,35.13,0.48), (15.87,7.67,16.13,7.93), (26.37,7.67,26.63,7.93), (39.07,7.67,39.33,7.93), (21.785,9.1,22.045,9.36), (15.92,9.38,16.18,9.64), (26.77,9.62,27.03,9.88), (37.77,9.62,38.03,9.88), (19.18,9.67,19.44,9.93), (14.89,16.69,15.15,16.95), (19.19,16.72,19.45,16.98), (29.87,18.37,30.13,18.63), (40.87,18.37,41.13,18.63), (21.81,19.38,22.07,19.64)])
R(power_grid_repairs, via4, [(17.87,-1.1,18.13,-0.84), (28.87,-1.1,29.13,-0.84), (41.87,-1.1,42.13,-0.84), (34.87,0.22,35.13,0.48), (14.89,16.69,15.15,16.95), (19.19,16.72,19.45,16.98), (29.87,18.37,30.13,18.63), (40.87,18.37,41.13,18.63), (21.81,19.38,22.07,19.64)])
R(power_grid_repairs, metal3, [(17.79,-1.18,18.21,-0.76), (28.79,-1.18,29.21,-0.76), (41.79,-1.18,42.21,-0.76), (34.79,0.14,35.21,0.56), (15.79,7.59,16.21,8.01), (26.29,7.59,26.71,8.01), (38.99,7.59,39.41,8.01), (21.705,9.02,22.125,9.44), (15.84,9.3,16.26,9.72), (26.69,9.54,27.11,9.96), (37.69,9.54,38.11,9.96), (19.1,9.59,19.52,10.01), (14.81,16.61,15.23,17.03), (19.11,16.64,19.53,17.06), (29.79,18.29,30.21,18.71), (40.79,18.29,41.21,18.71), (21.73,19.3,22.15,19.72)])
R(power_grid_repairs, metal4, [(17.79,-1.18,18.21,-0.76), (28.79,-1.18,29.21,-0.76), (41.79,-1.18,42.21,-0.76), (34.79,0.14,35.21,0.56), (15.7,7.5,16.3,9.05), (26.2,7.5,26.8,9.05), (38.9,7.5,39.5,9.05), (15.79,7.59,16.21,8.01), (26.29,7.59,26.71,8.01), (38.99,7.59,39.41,8.01), (14.5,8.35,46.5,9.15), (15.75,8.45,16.35,9.81), (19.01,8.45,19.61,10.1), (21.615,8.45,22.215,9.53), (26.6,8.45,27.2,10.05), (37.6,8.45,38.2,10.05), (21.705,9.02,22.125,9.44), (15.84,9.3,16.26,9.72), (26.69,9.54,27.11,9.96), (37.69,9.54,38.11,9.96), (19.1,9.59,19.52,10.01), (14.81,16.61,15.23,17.03), (19.11,16.64,19.53,17.06), (29.79,18.29,30.21,18.71), (40.79,18.29,41.21,18.71), (21.73,19.3,22.15,19.72)])
R(power_grid_repairs, metal5, [(17.7,-1.27,18.3,9.05), (28.7,-1.27,29.3,9.05), (41.7,-1.27,42.3,9.05), (17.79,-1.18,18.21,-0.76), (28.79,-1.18,29.21,-0.76), (41.79,-1.18,42.21,-0.76), (34.7,0.05,35.3,9.05), (34.79,0.14,35.21,0.56), (14.5,8.35,46.5,9.15), (14.72,8.45,15.32,17.12), (19.02,8.45,19.62,17.15), (21.64,8.45,22.24,19.81), (29.7,8.45,30.3,18.8), (40.7,8.45,41.3,18.8), (14.81,16.61,15.23,17.03), (19.11,16.64,19.53,17.06), (29.79,18.29,30.21,18.71), (40.79,18.29,41.21,18.71), (21.73,19.3,22.15,19.72)])

c_32_33_complete_prescaler = lib.new_cell('32_33_Complete_Prescaler')
R(c_32_33_complete_prescaler, nwell, [(15.05,8.355,17.04,9.8), (18.67,10.735,21.24,12.38)])
R(c_32_33_complete_prescaler, pplus, [(18.69,16.23,19.93,17.46), (21.31,18.89,22.55,20.14)])
R(c_32_33_complete_prescaler, via1, [(21.64,3.13,21.9,3.39), (32.61,5.24,32.87,5.5), (45.3,5.24,45.56,5.5), (22.63,10.52,22.89,10.78), (38.09,14.17,38.35,14.43), (22.44,14.85,22.7,15.11), (22.44,15.69,22.7,15.95), (22.44,17.37,22.7,17.63)])
P(c_32_33_complete_prescaler, via1, [(22.44,15.11),(22.44,15.11),(22.44,15.11),(22.44,15.11)])
R(c_32_33_complete_prescaler, metal2, [(21.57,3.06,21.97,3.46), (35.38,5.12,35.78,5.52), (45.23,5.165,45.63,5.565), (32.545,5.17,32.945,5.57), (22.565,10.45,22.965,10.85), (38.02,14.1,38.42,14.5), (22.37,14.78,22.77,15.18), (22.37,15.62,22.77,16.02), (22.37,17.3,22.77,17.7)])
P(c_32_33_complete_prescaler, metal2, [(22.96,10.45),(22.96,10.45),(22.96,10.45),(22.96,10.45)])
R(c_32_33_complete_prescaler, via2, [(32.61,5.24,32.87,5.5), (45.3,5.24,45.56,5.5), (22.63,10.52,22.89,10.78), (22.44,14.85,22.7,15.11), (22.44,15.69,22.7,15.95)])
R(c_32_33_complete_prescaler, metal3, [(45.23,5.165,45.63,5.565), (32.545,5.17,32.945,5.57), (22.565,10.45,22.965,10.85), (22.37,14.78,22.77,15.18), (33.78,15.18,34.18,15.58), (22.37,15.62,22.77,16.02)])
c_32_33_complete_prescaler.add(gdstk.FlexPath([(19.93,8.47),(24.52,8.47)], 0.23, ends="flush", simple_path=True, layer=34, datatype=0))  # metal1
c_32_33_complete_prescaler.add(gdstk.FlexPath([(24.52,8.47),(24.52,9.81)], 0.23, ends="flush", simple_path=True, layer=34, datatype=0))  # metal1
c_32_33_complete_prescaler.add(gdstk.FlexPath([(19.31,15.6),(19.31,16.85)], 0.4, ends="flush", simple_path=True, layer=34, datatype=0))  # metal1
c_32_33_complete_prescaler.add(gdstk.FlexPath([(21.91,18.17),(21.91,19.51)], 0.4, ends="flush", simple_path=True, layer=34, datatype=0))  # metal1
c_32_33_complete_prescaler.add(gdstk.FlexPath([(27.22,14.3),(25.77,14.3),(25.77,16.66),(22.57,16.66)], 0.23, ends="flush", simple_path=True, layer=34, datatype=0))  # metal1
c_32_33_complete_prescaler.add(gdstk.FlexPath([(19.31,12.75),(17.74,12.75)], 0.23, ends="flush", simple_path=True, layer=34, datatype=0))  # metal1
c_32_33_complete_prescaler.add(gdstk.FlexPath([(21.77,3.26),(24.16,3.26),(24.16,3.45),(25.29,3.45)], 0.28, ends="flush", simple_path=True, layer=36, datatype=0))  # metal2
c_32_33_complete_prescaler.add(gdstk.FlexPath([(22.765,10.65),(23.95,10.65),(23.95,5.37),(32.745,5.37)], 0.28, ends="flush", simple_path=True, layer=42, datatype=0))  # metal3
c_32_33_complete_prescaler.add(gdstk.FlexPath([(22.57,14.98),(24.84,14.98),(24.84,6.49),(45.43,6.49),(45.43,5.365)], 0.28, ends="flush", simple_path=True, layer=42, datatype=0))  # metal3
c_32_33_complete_prescaler.add(gdstk.FlexPath([(22.765,10.65),(17,10.65),(17,14.14)], 0.28, ends="flush", simple_path=True, layer=42, datatype=0))  # metal3
c_32_33_complete_prescaler.add(gdstk.Reference(via_dev_11, (14.82,16.62)))
c_32_33_complete_prescaler.add(gdstk.Reference(via_dev_14, (22.44,20.01), rotation=pi))
c_32_33_complete_prescaler.add(gdstk.Reference(via_dev_14, (19.82,17.35), rotation=pi))
c_32_33_complete_prescaler.add(gdstk.Reference(flip_flip_w_inv2, (27.55,3.85)))
c_32_33_complete_prescaler.add(gdstk.Reference(c_32_33_prescaler, (21.73,14), rotation=pi))
c_32_33_complete_prescaler.add(gdstk.Reference(flip_flip_wo_inv, (17.05,3.85)))
c_32_33_complete_prescaler.add(gdstk.Reference(flip_flip_wo_inv, (40.24,3.85)))
r = gdstk.Reference(flip_flip_wo_inv, (42.94,13.71), rotation=pi); r.repetition = gdstk.Repetition(2, 1, v1=(-11,0), v2=(0,0)); c_32_33_complete_prescaler.add(r)
c_32_33_complete_prescaler.add(gdstk.Reference(c_2_input_nor, (15,14), rotation=pi))
c_32_33_complete_prescaler.add(gdstk.Reference(signal_and_well_repairs, (0,0)))
c_32_33_complete_prescaler.add(gdstk.Reference(power_grid_repairs, (0,0)))
c_32_33_complete_prescaler.add(gdstk.Label('CLK_IN', (19.97,14.85), layer=36, texttype=10))
c_32_33_complete_prescaler.add(gdstk.Label('Q2', (24.16,3.215), layer=36, texttype=10))
c_32_33_complete_prescaler.add(gdstk.Label('X1_N1', (19.72,4.22), layer=36, texttype=10))
c_32_33_complete_prescaler.add(gdstk.Label('X2_N1', (30.22,4.22), layer=36, texttype=10))
c_32_33_complete_prescaler.add(gdstk.Label('Q3', (35.59,6.9), layer=36, texttype=10))
c_32_33_complete_prescaler.add(gdstk.Label('X3_N1', (42.91,4.22), layer=36, texttype=10))
c_32_33_complete_prescaler.add(gdstk.Label('X5_N1', (29.27,13.34), layer=36, texttype=10))
c_32_33_complete_prescaler.add(gdstk.Label('X4_N1', (40.27,13.34), layer=36, texttype=10))
c_32_33_complete_prescaler.add(gdstk.Label('MC', (22.57,17.5), layer=36, texttype=10))
c_32_33_complete_prescaler.add(gdstk.Label('NOR_OUT', (14.25,6.38), layer=42, texttype=10))
c_32_33_complete_prescaler.add(gdstk.Label('Q4b', (31.325,6.49), layer=42, texttype=10))
c_32_33_complete_prescaler.add(gdstk.Label('Q3n', (28.515,5.37), layer=42, texttype=10))
c_32_33_complete_prescaler.add(gdstk.Label('Q5b', (24.04,15.82), layer=42, texttype=10))
c_32_33_complete_prescaler.add(gdstk.Label('CLK_OUT', (31.605,11.18), layer=42, texttype=10))
c_32_33_complete_prescaler.add(gdstk.Label('X1_N2', (15.475,5.02), layer=34, texttype=10))
c_32_33_complete_prescaler.add(gdstk.Label('X2_N2', (25.975,5.02), layer=34, texttype=10))
c_32_33_complete_prescaler.add(gdstk.Label('X3_N2', (38.665,5.02), layer=34, texttype=10))
c_32_33_complete_prescaler.add(gdstk.Label('Q1', (17.74,14.315), layer=34, texttype=10))
c_32_33_complete_prescaler.add(gdstk.Label('X6_DYN', (19.78,13.985), layer=34, texttype=10))
c_32_33_complete_prescaler.add(gdstk.Label('NOR_PSTACK', (16.055,11.405), layer=34, texttype=10))
c_32_33_complete_prescaler.add(gdstk.Label('X5_N2', (32.42,13.68), layer=34, texttype=10))
c_32_33_complete_prescaler.add(gdstk.Label('X4_N2', (43.42,13.68), layer=34, texttype=10))
c_32_33_complete_prescaler.add(gdstk.Label('VDD', (14.75,8.75), layer=46, texttype=10))
c_32_33_complete_prescaler.add(gdstk.Label('VSS', (46.25,8.75), layer=81, texttype=10))

lib.write_gds('32_33_Complete_Prescaler.gds')
